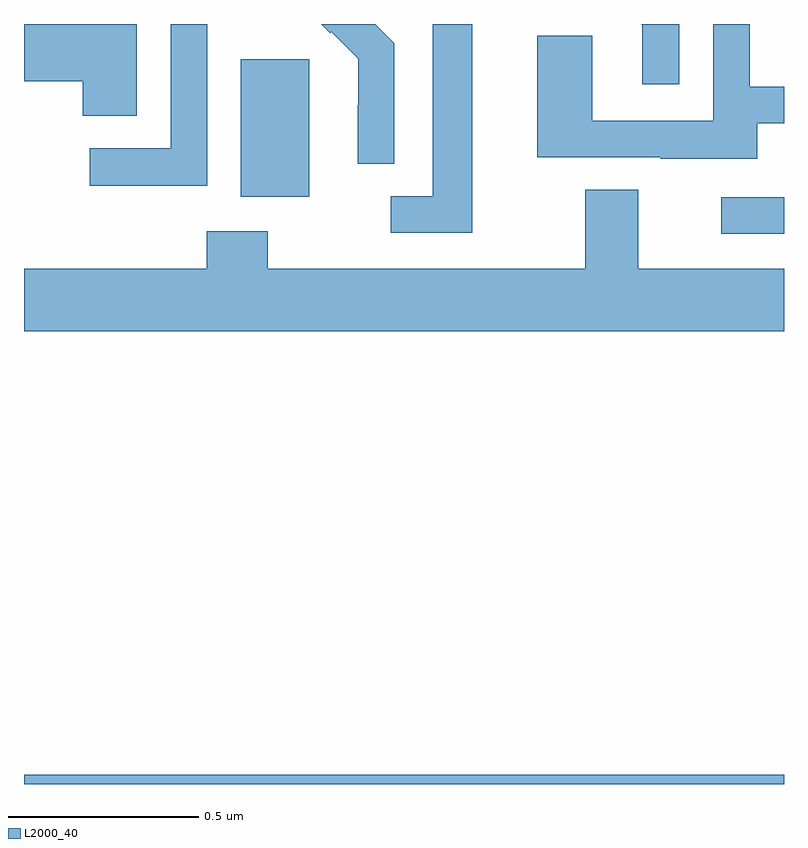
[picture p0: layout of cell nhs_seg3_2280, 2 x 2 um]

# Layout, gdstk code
import gdstk
lib = gdstk.Library(unit=1e-6, precision=1e-09)
def R(c, l, rs):  # rectangles x0, y0, x1, y1
    for r in rs: c.add(gdstk.rectangle(r[:2], r[2:], *l))
def P(c, l, *ps):  # polygons
    for p in ps: c.add(gdstk.Polygon(p, *l))
L2000_40 = (2000, 40)

nhs_seg3_2280 = lib.new_cell('nhs_seg3_2280')
R(nhs_seg3_2280, L2000_40, [(139,690.4,141,690.424), (140.835,691.848,141,691.944), (139.571,691.946,139.75,692.307)])
P(nhs_seg3_2280, L2000_40, [(139.297,692.4),(139,692.4),(139,692.249),(139.154,692.249),(139.154,692.158),(139.297,692.158)],
  [(140.179,692.4),(140.075,692.4),(140.075,691.947),(139.965,691.947),(139.965,691.851),(140.179,691.851)],
  [(140.724,692.4),(140.624,692.4),(140.627,692.397),(140.627,692.241),(140.724,692.241)],
  [(139.482,692.4),(139.386,692.4),(139.386,692.073),(139.173,692.073),(139.173,691.975),(139.482,691.975)],
  [(139.974,692.35),(139.924,692.4),(139.782,692.4),(139.806,692.376),(139.809,692.379),(139.88,692.309),(139.88,692.186),(139.878,692.186),(139.878,692.032),(139.974,692.032)],
  [(140.929,692.139),(141,692.139),(141,692.235),(140.91,692.235),(140.91,692.4),(140.814,692.4),(140.814,692.145),(140.496,692.145),(140.496,692.369),(140.351,692.369),(140.351,692.049),(140.675,692.049),(140.675,692.045),(140.929,692.045)],
  [(141,691.756),(140.617,691.756),(140.617,691.964),(140.477,691.964),(140.477,691.756),(139.641,691.756),(139.641,691.855),(139.481,691.855),(139.481,691.756),(139,691.756),(139,691.592),(141,691.592)])

lib.write_gds('nhs_seg3_2280.gds')
